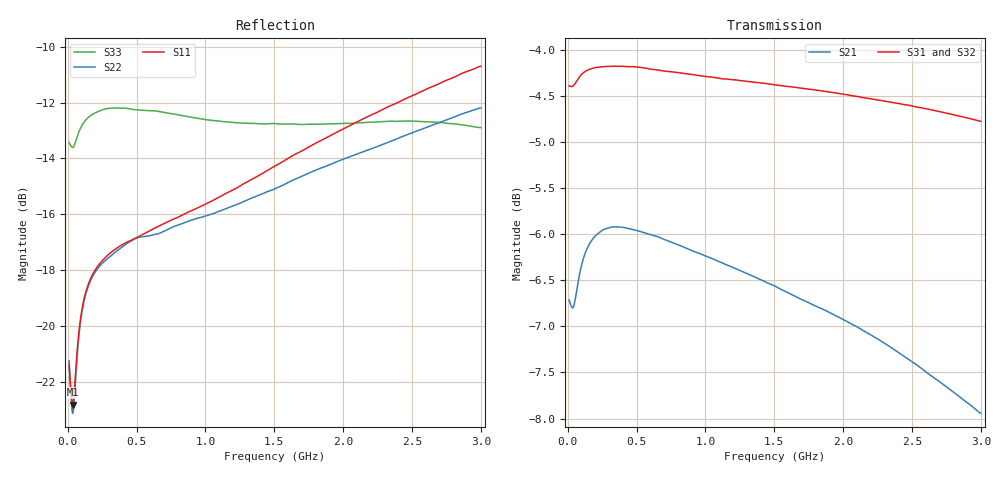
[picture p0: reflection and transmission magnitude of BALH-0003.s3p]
! MARKI MICROWAVE INC.
! Email:  info@markimicrowave.com  Phone:  408-778-4200
! Model Number:  BALH-0003  Date:  06/13
! Filename:		BALH-0003.S3P  Version: 1.0
! Description:  3-port S-parameter data for Balun BALH-0003
! Frequency Range: 	10 MHz to 3 GHz
! Port Configuration:	PORT 1: OUTPUT (0 DEGREE), PORT 2: OUTPUT(180 DEGREE), PORT 3: COMMON
! S3P File: Measurements: Mag<S11> Ang<S11> Mag<S12> Ang<S12> Mag<S13> Ang<S13>! row 1
!  Mag<S21> Ang<S21> Mag<S22> Ang<S22> Mag<S23> Ang<S23>! row 2
!  Mag<S31> Ang<S31> Mag<S32> Ang<S32> Mag<S33> Ang<S33>! row 3
# Hz S  dB  R 50
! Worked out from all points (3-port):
!   801 points, 10 MHz to 3 GHz, reference 50 ohm
!   strongest paths, dB at 10 MHz, 757.5 MHz, 1.505 GHz, 2.252 GHz, 3 GHz:
!     S31: -4.4, -4.2, -4.4, -4.5, -4.8
!     S32: -4.4, -4.2, -4.4, -4.6, -4.7
!     S21: -6.7, -6.1, -6.6, -7.1, -7.9
!   lowest |S11| = -22.8 dB at 36.16 MHz (marker M1), VSWR 1.16, Z = 56.8 + j3.66 ohm
!   |S11| at or under -10 dB: start of sweep to end of sweep
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1e7  -21.38 36.9  -6.73 4.0  -4.39 -0.9
     -6.71 3.7  -21.23 35.9  -4.37 179.0
     -4.39 0.3  -4.37 -179.5  -13.42 6.4
3.61625e7  -22.80 26.2  -6.80 1.0  -4.39 -2.4
           -6.80 1.0  -23.11 26.8  -4.43 177.5
           -4.39 -2.9  -4.44 177.1  -13.61 0.2
1.894e8  -18.07 -4.1  -6.04 -9.4  -4.20 -18.3
         -6.04 -9.4  -18.14 -2.9  -4.22 161.7
         -4.20 -18.3  -4.22 161.7  -12.39 -24.5
7.911375e8  -16.12 -81.7  -6.11 -51.3  -4.24 -79.3
            -6.11 -51.3  -16.40 -81.2  -4.25 100.3
            -4.24 -79.3  -4.25 100.2  -12.43 -121.3
1.1462e9  -15.25 -116.3  -6.33 -74.2  -4.31 -114.8
          -6.33 -74.2  -15.79 -116.7  -4.34 64.6
          -4.31 -114.8  -4.34 64.6  -12.69 -177.9
1.505e9  -14.27 -147.3  -6.56 -96.9  -4.38 -150.5
         -6.56 -96.9  -15.08 -149.2  -4.41 28.9
         -4.38 -150.5  -4.41 28.8  -12.75 125.4
1.886225e9  -13.23 -178.0  -6.84 -120.9  -4.46 171.5
            -6.84 -120.8  -14.25 178.7  -4.49 -9.1
            -4.45 171.5  -4.49 -9.1  -12.76 65.5
2.2824e9  -12.26 152.1  -7.17 -145.7  -4.55 132.2
          -7.17 -145.7  -13.51 147.1  -4.57 -48.4
          -4.55 132.1  -4.57 -48.5  -12.68 4.2
2.637462e9  -11.45 126.6  -7.54 -167.7  -4.65 96.8
            -7.53 -167.7  -12.83 119.7  -4.64 -83.8
            -4.65 96.8  -4.64 -83.8  -12.70 -50.1
3e9  -10.70 101.0  -7.95 170.4  -4.77 61.2
     -7.94 170.4  -12.19 92.1  -4.74 -119.4
     -4.77 61.2  -4.74 -119.4  -12.90 -105.0
